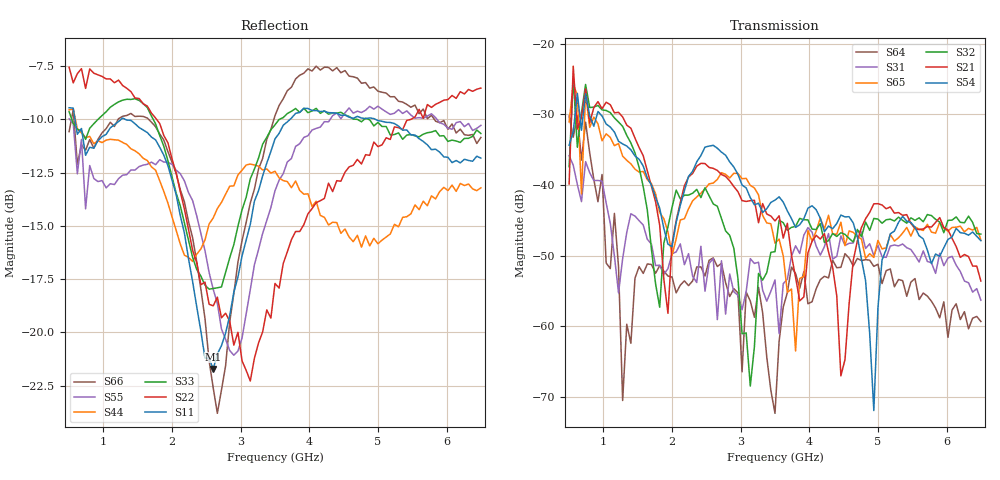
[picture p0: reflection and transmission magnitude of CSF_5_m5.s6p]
!Keysight Technologies,M9804A,MY58100912,A.14.10.03
!Date: Thursday, April 27, 2023 10:28:33
!Correction: S11(C  6-Port  )
!S12(C  6-Port  )
!S13(C  6-Port  )
!S14(C  6-Port  )
!S15(C  6-Port  )
!S16(C  6-Port  )
!S21(C  6-Port  )
!S22(C  6-Port  )
!S23(C  6-Port  )
!S24(C  6-Port  )
!S25(C  6-Port  )
!S26(C  6-Port  )
!S31(C  6-Port  )
!S32(C  6-Port  )
!S33(C  6-Port  )
!S34(C  6-Port  )
!S35(C  6-Port  )
!S36(C  6-Port  )
!S41(C  6-Port  )
!S42(C  6-Port  )
!S43(C  6-Port  )
!S44(C  6-Port  )
!S45(C  6-Port  )
!S46(C  6-Port  )
!S51(C  6-Port  )
!S52(C  6-Port  )
!S53(C  6-Port  )
!S54(C  6-Port  )
!S55(C  6-Port  )
!S56(C  6-Port  )
!S61(C  6-Port  )
!S62(C  6-Port  )
!S63(C  6-Port  )
!S64(C  6-Port  )
!S65(C  6-Port  )
!S66(C  6-Port  )
!S6P File: Measurement: :
# Hz S  RI  R 50
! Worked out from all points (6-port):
!   101 points, 500 MHz to 6.5 GHz, reference 50 ohm
!   strongest paths, dB at 500 MHz, 2 GHz, 3.5 GHz, 5 GHz, 6.5 GHz:
!     S54: -34.4, -48.7, -42.1, -57.4, -47.9
!     S21: -39.9, -48.3, -45.1, -42.6, -53.6
!     S32: -37.4, -43.2, -49.4, -44.8, -47.0
!     S65: -31.1, -50.0, -48.2, -47.8, -47.8
!     S31: -35.8, -49.7, -53.5, -48.6, -56.3
!     S64: -30.2, -53.0, -72.3, -51.2, -59.3
!   lowest |S11| = -21.7 dB at 2.6 GHz (marker M1), VSWR 1.18, Z = 42.7 + j1.97 ohm
!   |S11| at or under -10 dB: 586 MHz to 1.257 GHz (670.8 MHz wide, 72.8 % of centre); 1.321 GHz to 3.719 GHz (2.398 GHz wide, 95.1 % of centre); 4.966 GHz to end of sweep
